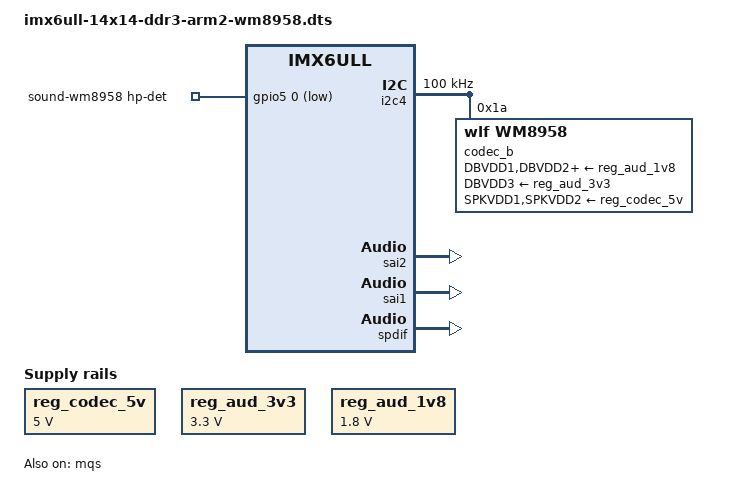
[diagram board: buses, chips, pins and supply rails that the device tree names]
/*
 * Copyright (C) 2016 Freescale Semiconductor, Inc.
 *
 * This program is free software; you can redistribute it and/or modify
 * it under the terms of the GNU General Public License version 2 as
 * published by the Free Software Foundation.
 */

#include "imx6ull-14x14-ddr3-arm2.dts"

/ {

	regulators {
		compatible = "simple-bus";
		#address-cells = <1>;
		#size-cells = <0>;

		reg_codec_5v: codec_5v {
			compatible = "regulator-fixed";
			regulator-name = "CODEC_5V";
			regulator-min-microvolt = <5000000>;
			regulator-max-microvolt = <5000000>;
			enable-active-high;
		};

		reg_aud_3v3: aud_3v3 {
			compatible = "regulator-fixed";
			regulator-name = "AUD_3V3";
			regulator-min-microvolt = <3300000>;
			regulator-max-microvolt = <3300000>;
			enable-active-high;
		};

		reg_aud_1v8: aud_1v8 {
			compatible = "regulator-fixed";
			regulator-name = "AUD_1V8";
			regulator-min-microvolt = <1800000>;
			regulator-max-microvolt = <1800000>;
			enable-active-high;
		};
	};

	sound-mqs {
		compatible = "fsl,imx6ul-ddr3-arm2-mqs",
				"fsl,imx-audio-mqs";
		model = "mqs-audio";
		cpu-dai = <&sai1>;
		asrc-controller = <&asrc>;
		audio-codec = <&mqs>;
	};

	sound-wm8958 {
		compatible = "fsl,imx6ul-ddr3-arm2-wm8958",
			   "fsl,imx-audio-wm8958";
		model = "wm8958-audio";
		cpu-dai = <&sai2>;
		audio-codec = <&codec_b>;
		codec-master;
		gpr = <&gpr>;
		hp-det-gpios = <&gpio5 0 1>;
	};

	sound-spdif {
		compatible = "fsl,imx-audio-spdif";
		model = "imx-spdif";
		spdif-controller = <&spdif>;
		spdif-in;
		spdif-out;
	};
};

&clks {
	assigned-clocks = <&clks IMX6UL_CLK_PLL4_AUDIO_DIV>;
	assigned-clock-rates = <786432000>;
};

&i2c4 {
	clock-frequency = <100000>;
	pinctrl-names = "default";
	pinctrl-0 = <&pinctrl_i2c4>;
	status = "okay";

	codec_b: wm8958@1a {
		compatible = "wlf,wm8958";
		reg = <0x1a>;
		clocks = <&clks IMX6UL_CLK_SAI2>,
		       <&clks IMX6UL_CLK_DUMMY>;
		clock-names = "mclk1", "mclk2";

		DBVDD1-supply = <&reg_aud_1v8>;
		DBVDD2-supply = <&reg_aud_1v8>;
		DBVDD3-supply = <&reg_aud_3v3>;
		AVDD2-supply = <&reg_aud_1v8>;
		CPVDD-supply = <&reg_aud_1v8>;
		SPKVDD1-supply = <&reg_codec_5v>;
		SPKVDD2-supply = <&reg_codec_5v>;

		wlf,ldo1ena;
		wlf,ldo2ena;
	};
};

&iomuxc {
	pinctrl-0 = <&pinctrl_hog &pinctrl_hog1>;
};

&sai2 {
	pinctrl-names = "default";
	pinctrl-0 = <&pinctrl_sai2>;
	assigned-clocks = <&clks IMX6UL_CLK_SAI2_SEL>,
			<&clks IMX6UL_CLK_SAI2>;
	assigned-clock-parents = <&clks IMX6UL_CLK_PLL4_AUDIO_DIV>;
	assigned-clock-rates = <0>, <24576000>;
	status = "okay";
};

&sai1 {
	assigned-clocks = <&clks IMX6UL_CLK_SAI1_SEL>,
			<&clks IMX6UL_CLK_SAI1>;
	assigned-clock-parents = <&clks IMX6UL_CLK_PLL4_AUDIO_DIV>;
	assigned-clock-rates = <0>, <24576000>;
	status = "okay";
};

&mqs {
	pinctrl-names = "default";
	pinctrl-0 = <&pinctrl_mqs>;
	clocks = <&clks IMX6UL_CLK_SAI1>;
	clock-names = "mclk";
	status = "okay";
};

&spdif {
	pinctrl-names = "default";
	pinctrl-0 = <&pinctrl_spdif>;
	assigned-clocks = <&clks IMX6UL_CLK_SPDIF_SEL>,
			  <&clks IMX6UL_CLK_SPDIF_PODF>;
	assigned-clock-parents = <&clks IMX6UL_CLK_PLL4_AUDIO_DIV>;
	assigned-clock-rates = <0>, <98304000>;
	status = "okay";
};

&uart2 {
	status = "disabled";
};

&usdhc1 {
	no-1-8-v;
	vmmc-supply = <>;
	status = "disabled";
};

&usdhc2 {
	no-1-8-v;
};
